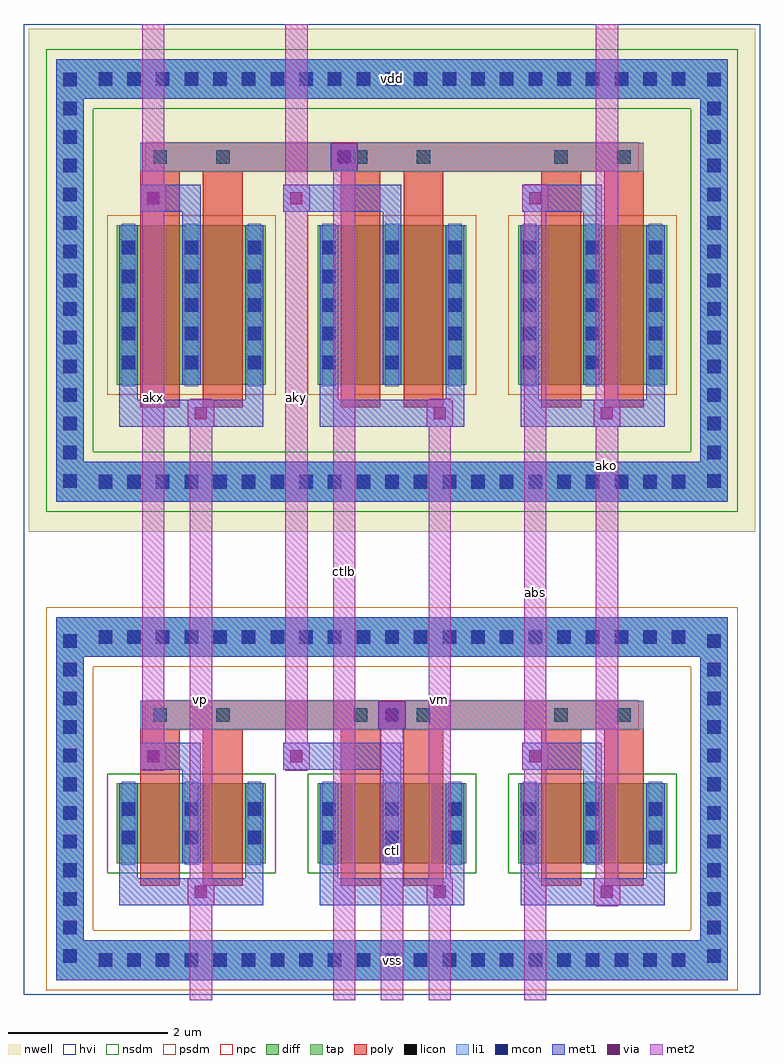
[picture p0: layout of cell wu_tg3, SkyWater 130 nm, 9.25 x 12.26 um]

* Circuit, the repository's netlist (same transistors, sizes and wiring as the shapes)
.subckt wu_tg3 vp vm akx aky ako abs ctl ctlb vdd vss
MT0n akx ctl vp vss nfet_g5v0d10v5 w=2u l=0.5u
MT0p akx ctlb vp vdd pfet_g5v0d10v5 w=4u l=0.5u
MT1n aky ctl vm vss nfet_g5v0d10v5 w=2u l=0.5u
MT1p aky ctlb vm vdd pfet_g5v0d10v5 w=4u l=0.5u
MT2n abs ctl ako vss nfet_g5v0d10v5 w=2u l=0.5u
MT2p abs ctlb ako vdd pfet_g5v0d10v5 w=4u l=0.5u
.ends wu_tg3

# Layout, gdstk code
import gdstk
lib = gdstk.Library(unit=1e-6, precision=1e-09)
def R(c, l, rs):  # rectangles x0, y0, x1, y1
    for r in rs: c.add(gdstk.rectangle(r[:2], r[2:], *l))
def A(c, l, x, y, w, h, nx, ny, dx, dy):  # array of equal rectangles
    R(c, l, [(x+i*dx, y+j*dy, x+i*dx+w, y+j*dy+h) for i in range(nx) for j in range(ny)])
nwell = (64, 20)
diff = (65, 20)
tap = (65, 44)
poly = (66, 20)
licon = (66, 44)
li1 = (67, 20)
mcon = (67, 44)
met1 = (68, 20)
via = (68, 44)
met2 = (69, 20)
hvi = (75, 20)
nsdm = (93, 44)
psdm = (94, 20)
npc = (95, 20)

wu_tg3 = lib.new_cell('wu_tg3')
R(wu_tg3, nwell, [(-4.565,5.88,4.565,12.2)])
A(wu_tg3, diff, -3.455, 1.72, 1.87, 1, 3, 1, 2.52, 0)
A(wu_tg3, diff, -3.455, 7.73, 1.87, 2, 3, 1, 2.52, 0)
R(wu_tg3, tap, [(-4.215,0.25,4.215,0.75), (-4.215,0.25,-3.875,4.81), (3.875,0.25,4.215,4.81), (-4.215,4.31,4.215,4.81), (-4.215,6.26,4.215,6.76), (-4.215,6.26,-3.875,11.82), (3.875,6.26,4.215,11.82), (-4.215,11.32,4.215,11.82)])
R(wu_tg3, poly, [(-3.165,1.435,-2.665,3.005), (-2.375,1.435,-1.875,3.005), (-0.645,1.435,-0.145,3.005), (0.145,1.435,0.645,3.005), (1.875,1.435,2.375,3.005), (2.665,1.435,3.165,3.005), (-3.165,2.72,-2.665,3.58), (-2.375,2.72,-1.875,3.58), (-0.645,2.72,-0.145,3.58), (0.145,2.72,0.645,3.58), (1.875,2.72,2.375,3.58), (2.665,2.72,3.165,3.58), (-3.165,3.4,3.165,3.76), (-3.165,7.445,-2.665,10.015), (-2.375,7.445,-1.875,10.015), (-0.645,7.445,-0.145,10.015), (0.145,7.445,0.645,10.015), (1.875,7.445,2.375,10.015), (2.665,7.445,3.165,10.015), (-3.165,9.73,-2.665,10.59), (-2.375,9.73,-1.875,10.59), (-0.645,9.73,-0.145,10.59), (0.145,9.73,0.645,10.59), (1.875,9.73,2.375,10.59), (2.665,9.73,3.165,10.59), (-3.165,10.41,3.165,10.77)])
A(wu_tg3, licon, -3.685, 0.415, 0.17, 0.17, 21, 2, 0.36, 4.06)
A(wu_tg3, licon, -4.13, 0.465, 0.17, 0.17, 1, 12, 0, 0.36)
A(wu_tg3, licon, 3.96, 0.465, 0.17, 0.17, 1, 12, 0, 0.36)
A(wu_tg3, licon, -3.395, 1.955, 0.17, 0.17, 3, 2, 0.79, 0.36)
A(wu_tg3, licon, -0.875, 1.955, 0.17, 0.17, 3, 2, 0.79, 0.36)
A(wu_tg3, licon, 1.645, 1.955, 0.17, 0.17, 3, 2, 0.79, 0.36)
A(wu_tg3, licon, -3.685, 6.425, 0.17, 0.17, 21, 2, 0.36, 5.06)
A(wu_tg3, licon, -4.13, 6.435, 0.17, 0.17, 1, 15, 0, 0.36)
A(wu_tg3, licon, 3.96, 6.435, 0.17, 0.17, 1, 15, 0, 0.36)
A(wu_tg3, licon, -3.395, 7.925, 0.17, 0.17, 3, 5, 0.79, 0.36)
A(wu_tg3, licon, -0.875, 7.925, 0.17, 0.17, 3, 5, 0.79, 0.36)
A(wu_tg3, licon, 1.645, 7.925, 0.17, 0.17, 3, 5, 0.79, 0.36)
R(wu_tg3, licon, [(-3,3.495,-2.83,3.665), (-2.21,3.495,-2.04,3.665), (-0.48,3.495,-0.31,3.665), (0.31,3.495,0.48,3.665), (2.04,3.495,2.21,3.665), (2.83,3.495,3,3.665), (-3,10.505,-2.83,10.675), (-2.21,10.505,-2.04,10.675), (-0.48,10.505,-0.31,10.675), (0.31,10.505,0.48,10.675), (2.04,10.505,2.21,10.675), (2.83,10.505,3,10.675)])
A(wu_tg3, li1, -3.395, 1.7, 0.17, 1.04, 3, 1, 0.79, 0)
A(wu_tg3, li1, -0.875, 1.7, 0.17, 1.04, 3, 1, 0.79, 0)
A(wu_tg3, li1, 1.645, 1.7, 0.17, 1.04, 3, 1, 0.79, 0)
A(wu_tg3, li1, -3.395, 7.71, 0.17, 2.04, 3, 1, 0.79, 0)
A(wu_tg3, li1, -0.875, 7.71, 0.17, 2.04, 3, 1, 0.79, 0)
A(wu_tg3, li1, 1.645, 7.71, 0.17, 2.04, 3, 1, 0.79, 0)
R(wu_tg3, li1, [(-4.215,0.25,4.215,0.75), (-4.215,0.25,-3.875,4.81), (3.875,0.25,4.215,4.81), (-3.165,3.4,3.165,3.76), (-4.215,4.31,4.215,4.81), (-4.215,6.26,4.215,6.76), (-4.215,6.26,-3.875,11.82), (3.875,6.26,4.215,11.82), (-3.165,10.41,3.165,10.77), (-4.215,11.32,4.215,11.82)])
A(wu_tg3, mcon, -3.685, 0.415, 0.17, 0.17, 21, 2, 0.36, 4.06)
A(wu_tg3, mcon, -4.13, 0.465, 0.17, 0.17, 1, 12, 0, 0.36)
A(wu_tg3, mcon, 3.96, 0.465, 0.17, 0.17, 1, 12, 0, 0.36)
A(wu_tg3, mcon, -3.395, 1.955, 0.17, 0.17, 3, 2, 0.79, 0.36)
A(wu_tg3, mcon, -0.875, 1.955, 0.17, 0.17, 3, 2, 0.79, 0.36)
A(wu_tg3, mcon, 1.645, 1.955, 0.17, 0.17, 3, 2, 0.79, 0.36)
A(wu_tg3, mcon, -3.685, 6.425, 0.17, 0.17, 21, 2, 0.36, 5.06)
A(wu_tg3, mcon, -4.13, 6.435, 0.17, 0.17, 1, 15, 0, 0.36)
A(wu_tg3, mcon, 3.96, 6.435, 0.17, 0.17, 1, 15, 0, 0.36)
A(wu_tg3, mcon, -3.395, 7.925, 0.17, 0.17, 3, 5, 0.79, 0.36)
A(wu_tg3, mcon, -0.875, 7.925, 0.17, 0.17, 3, 5, 0.79, 0.36)
A(wu_tg3, mcon, 1.645, 7.925, 0.17, 0.17, 3, 5, 0.79, 0.36)
R(wu_tg3, mcon, [(-0.085,3.495,0.085,3.665), (-0.685,10.505,-0.515,10.675)])
A(wu_tg3, met1, -3.425, 1.19, 1.81, 0.34, 3, 2, 2.52, 6.01)
A(wu_tg3, met1, -3.425, 1.72, 0.23, 1, 3, 1, 0.79, 0)
A(wu_tg3, met1, -0.905, 1.72, 0.23, 1, 3, 1, 0.79, 0)
A(wu_tg3, met1, 1.615, 1.72, 0.23, 1, 3, 1, 0.79, 0)
A(wu_tg3, met1, -2.635, 2.72, 0.23, 0.51, 3, 2, 2.52, 7.01)
A(wu_tg3, met1, -3.425, 7.73, 0.23, 2, 3, 1, 0.79, 0)
A(wu_tg3, met1, -0.905, 7.73, 0.23, 2, 3, 1, 0.79, 0)
A(wu_tg3, met1, 1.615, 7.73, 0.23, 2, 3, 1, 0.79, 0)
R(wu_tg3, met1, [(-4.215,0.25,4.215,0.75), (-4.215,0.25,-3.875,4.81), (3.875,0.25,4.215,4.81), (-3.425,1.19,-3.195,1.72), (-1.845,1.19,-1.615,1.72), (-0.905,1.19,-0.675,1.72), (0.675,1.19,0.905,1.72), (1.615,1.19,1.845,1.72), (3.195,1.19,3.425,1.72), (-2.565,1.195,-2.235,1.525), (0.435,1.195,0.765,1.525), (2.535,1.195,2.865,1.525), (-3.165,2.89,-2.405,3.23), (-1.365,2.89,0.115,3.23), (1.635,2.89,2.635,3.23), (-3.165,2.895,-2.835,3.225), (-1.365,2.895,-1.035,3.225), (1.635,2.895,1.965,3.225), (-0.17,3.41,0.17,3.75), (-4.215,4.31,4.215,4.81), (-4.215,6.26,4.215,6.76), (-4.215,6.26,-3.875,11.82), (3.875,6.26,4.215,11.82), (-3.425,7.2,-3.195,7.73), (-1.845,7.2,-1.615,7.73), (-0.905,7.2,-0.675,7.73), (0.675,7.2,0.905,7.73), (1.615,7.2,1.845,7.73), (3.195,7.2,3.425,7.73), (-2.565,7.205,-2.235,7.535), (0.435,7.205,0.765,7.535), (2.535,7.205,2.865,7.535), (-3.165,9.9,-2.405,10.24), (-1.365,9.9,0.115,10.24), (1.635,9.9,2.635,10.24), (-3.165,9.905,-2.835,10.235), (-1.365,9.905,-1.035,10.235), (1.635,9.905,1.965,10.235), (-0.77,10.42,-0.43,10.76), (-4.215,11.32,4.215,11.82)])
R(wu_tg3, via, [(-2.475,1.285,-2.325,1.435), (0.525,1.285,0.675,1.435), (2.625,1.285,2.775,1.435), (-3.075,2.985,-2.925,3.135), (-1.275,2.985,-1.125,3.135), (1.725,2.985,1.875,3.135), (-0.075,3.505,0.075,3.655), (-2.475,7.295,-2.325,7.445), (0.525,7.295,0.675,7.445), (2.625,7.295,2.775,7.445), (-3.075,9.995,-2.925,10.145), (-1.275,9.995,-1.125,10.145), (1.725,9.995,1.875,10.145), (-0.675,10.515,-0.525,10.665)])
R(wu_tg3, met2, [(-2.54,0,-2.26,7.55), (-0.74,0,-0.46,10.77), (-0.14,0,0.14,3.76), (0.46,0,0.74,7.55), (1.66,0,1.94,10.25), (2.56,1.18,2.84,12.26), (-2.565,1.195,-2.235,1.525), (0.435,1.195,0.765,1.525), (2.535,1.195,2.865,1.525), (-3.14,2.88,-2.86,12.26), (-1.34,2.88,-1.06,12.26), (-3.165,2.895,-2.835,3.225), (-1.365,2.895,-1.035,3.225), (1.635,2.895,1.965,3.225), (-0.165,3.415,0.165,3.745), (-2.565,7.205,-2.235,7.535), (0.435,7.205,0.765,7.535), (2.535,7.205,2.865,7.535), (-3.165,9.905,-2.835,10.235), (-1.365,9.905,-1.035,10.235), (1.635,9.905,1.965,10.235), (-0.765,10.425,-0.435,10.755)])
R(wu_tg3, hvi, [(-4.625,0.065,4.625,12.26)])
A(wu_tg3, nsdm, -3.58, 1.595, 2.12, 1.25, 3, 1, 2.52, 0)
R(wu_tg3, nsdm, [(-4.34,6.135,4.34,6.885), (-4.34,6.135,-3.75,11.945), (3.75,6.135,4.34,11.945), (-4.34,11.195,4.34,11.945)])
A(wu_tg3, psdm, -3.58, 7.605, 2.12, 2.25, 3, 1, 2.52, 0)
R(wu_tg3, psdm, [(-4.34,0.125,4.34,0.875), (-4.34,0.125,-3.75,4.935), (3.75,0.125,4.34,4.935), (-4.34,4.185,4.34,4.935)])
R(wu_tg3, npc, [(-3.1,3.395,3.1,3.765), (-3.1,10.405,3.1,10.775)])
wu_tg3.add(gdstk.Label('vdd', (0,11.57), layer=68, texttype=5))
wu_tg3.add(gdstk.Label('vss', (0,0.5), layer=68, texttype=5))
wu_tg3.add(gdstk.Label('vp', (-2.4,3.775), layer=69, texttype=5))
wu_tg3.add(gdstk.Label('vm', (0.6,3.775), layer=69, texttype=5))
wu_tg3.add(gdstk.Label('akx', (-3,7.57), layer=69, texttype=5))
wu_tg3.add(gdstk.Label('aky', (-1.2,7.57), layer=69, texttype=5))
wu_tg3.add(gdstk.Label('ako', (2.7,6.72), layer=69, texttype=5))
wu_tg3.add(gdstk.Label('abs', (1.8,5.125), layer=69, texttype=5))
wu_tg3.add(gdstk.Label('ctl', (0,1.88), layer=69, texttype=5))
wu_tg3.add(gdstk.Label('ctlb', (-0.6,5.385), layer=69, texttype=5))

lib.write_gds('wu_tg3.gds')
